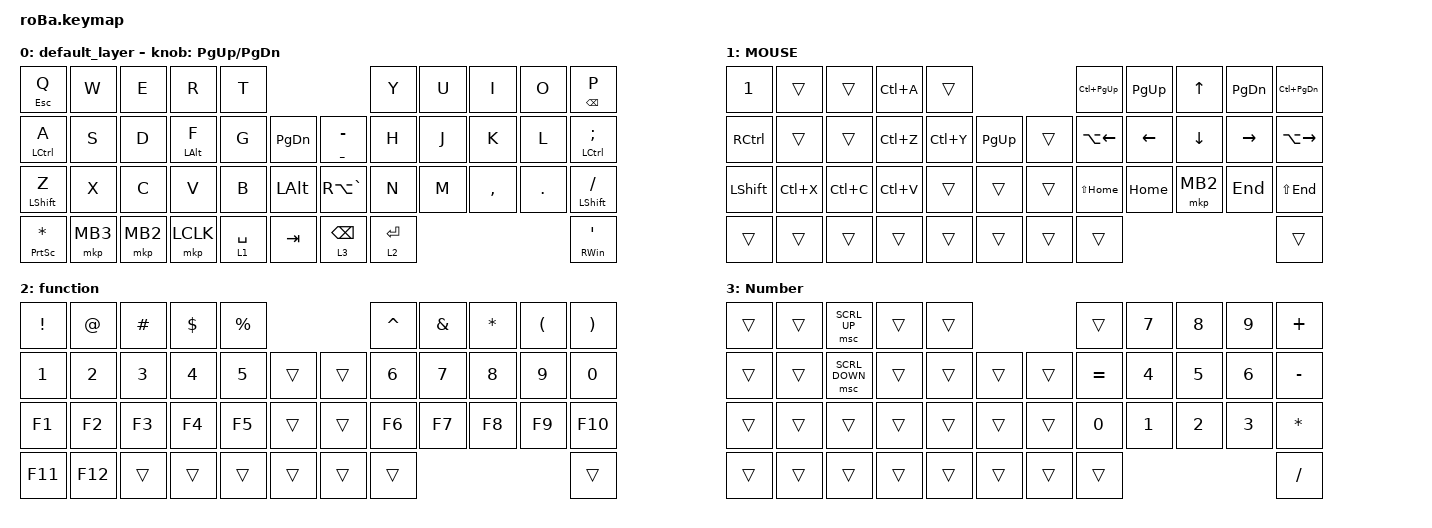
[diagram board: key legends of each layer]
#include <behaviors.dtsi>
#include <dt-bindings/zmk/bt.h>
#include <dt-bindings/zmk/keys.h>
#include <dt-bindings/zmk/pointing.h>
#include <dt-bindings/zmk/pointing.h>

#define MOUSE 4
#define SCROLL 5
#define NUM 6

&mt {
    flavor = "balanced";
    quick-tap-ms = <0>;
};

/ {
    combos {
        compatible = "zmk,combos";

        eq {
            bindings = <&kp EQUAL>;
            key-positions = <24 25>;
        };

        bt0 {
            bindings = <&bt BT_SEL 0>;
            key-positions = <1 2 0>;
        };

        bt1 {
            bindings = <&bt BT_SEL 1>;
            key-positions = <7 8 9>;
        };

        bt2 {
            bindings = <&bt BT_SEL 2>;
            key-positions = <1 2 0 3>;
        };

        bt3 {
            bindings = <&bt BT_SEL 3>;
            key-positions = <7 8 9 6>;
        };

        a {
            bindings = <&kp GRAVE>;
            key-positions = <2 3>;
        };

        b {
            bindings = <&kp TILDE>;
            key-positions = <7 6>;
        };

        c {
            bindings = <&kp BACKSLASH>;
            key-positions = <13 12>;
        };

        d {
            bindings = <&kp PIPE>;
            key-positions = <18 19>;
        };

        aa {
            bindings = <&kp LEFT_PARENTHESIS>;
            key-positions = <2 1>;
        };

        bb {
            bindings = <&kp RIGHT_PARENTHESIS>;
            key-positions = <7 8>;
        };

        cc {
            bindings = <&kp LEFT_BRACKET>;
            key-positions = <11 12>;
        };

        dd {
            bindings = <&kp RIGHT_BRACKET>;
            key-positions = <19 20>;
        };

        ee {
            bindings = <&kp LEFT_BRACE>;
            key-positions = <23 24>;
        };

        ff {
            bindings = <&kp RIGHT_BRACE>;
            key-positions = <31 32>;
        };

        aaa {
            bindings = <&kp LC(X)>;
            key-positions = <3 4>;
        };

        bbb {
            bindings = <&kp LC(C)>;
            key-positions = <13 14>;
        };

        ccc {
            bindings = <&kp LC(V)>;
            key-positions = <25 26>;
        };

        plus {
            bindings = <&kp PLUS>;
            key-positions = <30 31>;
        };
    };

    macros {
        to_layer_0: to_layer_0 {
            compatible = "zmk,behavior-macro-one-param";
            #binding-cells = <1>;
            bindings = <&to 1 &macro_param_1to1 &kp MACRO_PLACEHOLDER>;
            label = "TO_LAYER_0";
        };
    };

    behaviors {
        lt_to_layer_0: lt_to_layer_0 {
            compatible = "zmk,behavior-hold-tap";
            label = "LAYER_TAP_TO_0";
            bindings = <&mo>, <&to_layer_0>;

            #binding-cells = <2>;
            tapping-term-ms = <200>;
        };
    };

    keymap {
        compatible = "zmk,keymap";

        default_layer {
            bindings = <
&mt ESCAPE Q              &kp W     &kp E     &kp R           &kp T                                                 &kp Y        &kp U  &kp I      &kp O    &mt BACKSPACE P
&mt LCTRL A               &kp S     &kp D     &mt LEFT_ALT F  &kp G        &kp PAGE_DOWN      &mt UNDERSCORE MINUS  &kp H        &kp J  &kp K      &kp L    &mt LCTRL SEMICOLON
&mt LEFT_SHIFT Z          &kp X     &kp C     &kp V           &kp B        &kp LEFT_ALT       &kp RA(GRAVE)         &kp N        &kp M  &kp COMMA  &kp DOT  &mt LEFT_SHIFT SLASH
&mt PRINTSCREEN ASTERISK  &mkp MB3  &mkp MB2  &mkp LCLK       &lt 1 SPACE  &kp TAB            &lt 3 BACKSPACE       &lt 2 ENTER                             &mt RIGHT_WIN SQT
            >;

            sensor-bindings = <&inc_dec_kp PAGE_UP PAGE_DOWN>;
        };

        MOUSE {
            bindings = <
&kp NUMBER_1  &trans     &trans     &kp LC(A)  &trans                              &kp LC(PAGE_UP)     &kp PAGE_UP     &kp UP_ARROW    &kp PAGE_DOWN    &kp LC(PAGE_DOWN)
&kp RCTRL     &trans     &trans     &kp LC(Z)  &kp LC(Y)  &kp PAGE_UP      &trans  &kp LA(LEFT_ARROW)  &kp LEFT_ARROW  &kp DOWN_ARROW  &kp RIGHT_ARROW  &kp LA(RIGHT_ARROW)
&kp LSHIFT    &kp LC(X)  &kp LC(C)  &kp LC(V)  &trans     &trans           &trans  &kp LS(HOME)        &kp HOME        &mkp MB2        &kp END          &kp LS(END)
&trans        &trans     &trans     &trans     &trans     &trans           &trans  &trans                                                               &trans
            >;
        };

        function {
            bindings = <
&kp EXCLAMATION  &kp AT_SIGN   &kp HASH      &kp DOLLAR    &kp PERCENT                       &kp CARET     &kp AMPERSAND  &kp ASTERISK  &kp LEFT_PARENTHESIS  &kp RIGHT_PARENTHESIS
&kp NUMBER_1     &kp NUMBER_2  &kp NUMBER_3  &kp NUMBER_4  &kp NUMBER_5  &trans      &trans  &kp NUMBER_6  &kp NUMBER_7   &kp NUMBER_8  &kp NUMBER_9          &kp NUMBER_0
&kp F1           &kp F2        &kp F3        &kp F4        &kp F5        &trans      &trans  &kp F6        &kp F7         &kp F8        &kp F9                &kp F10
&kp F11          &kp F12       &trans        &trans        &trans        &trans      &trans  &trans                                                           &trans
            >;
        };

        Number {
            bindings = <
&trans  &trans  &msc SCRL_UP    &trans  &trans                      &trans        &kp NUMBER_7  &kp NUMBER_8  &kp NUMBER_9  &kp PLUS
&trans  &trans  &msc SCRL_DOWN  &trans  &trans  &trans      &trans  &kp EQUAL     &kp NUMBER_4  &kp NUMBER_5  &kp NUMBER_6  &kp MINUS
&trans  &trans  &trans          &trans  &trans  &trans      &trans  &kp NUMBER_0  &kp NUMBER_1  &kp NUMBER_2  &kp NUMBER_3  &kp ASTERISK
&trans  &trans  &trans          &trans  &trans  &trans      &trans  &trans                                                  &kp SLASH
            >;
        };
    };
};
